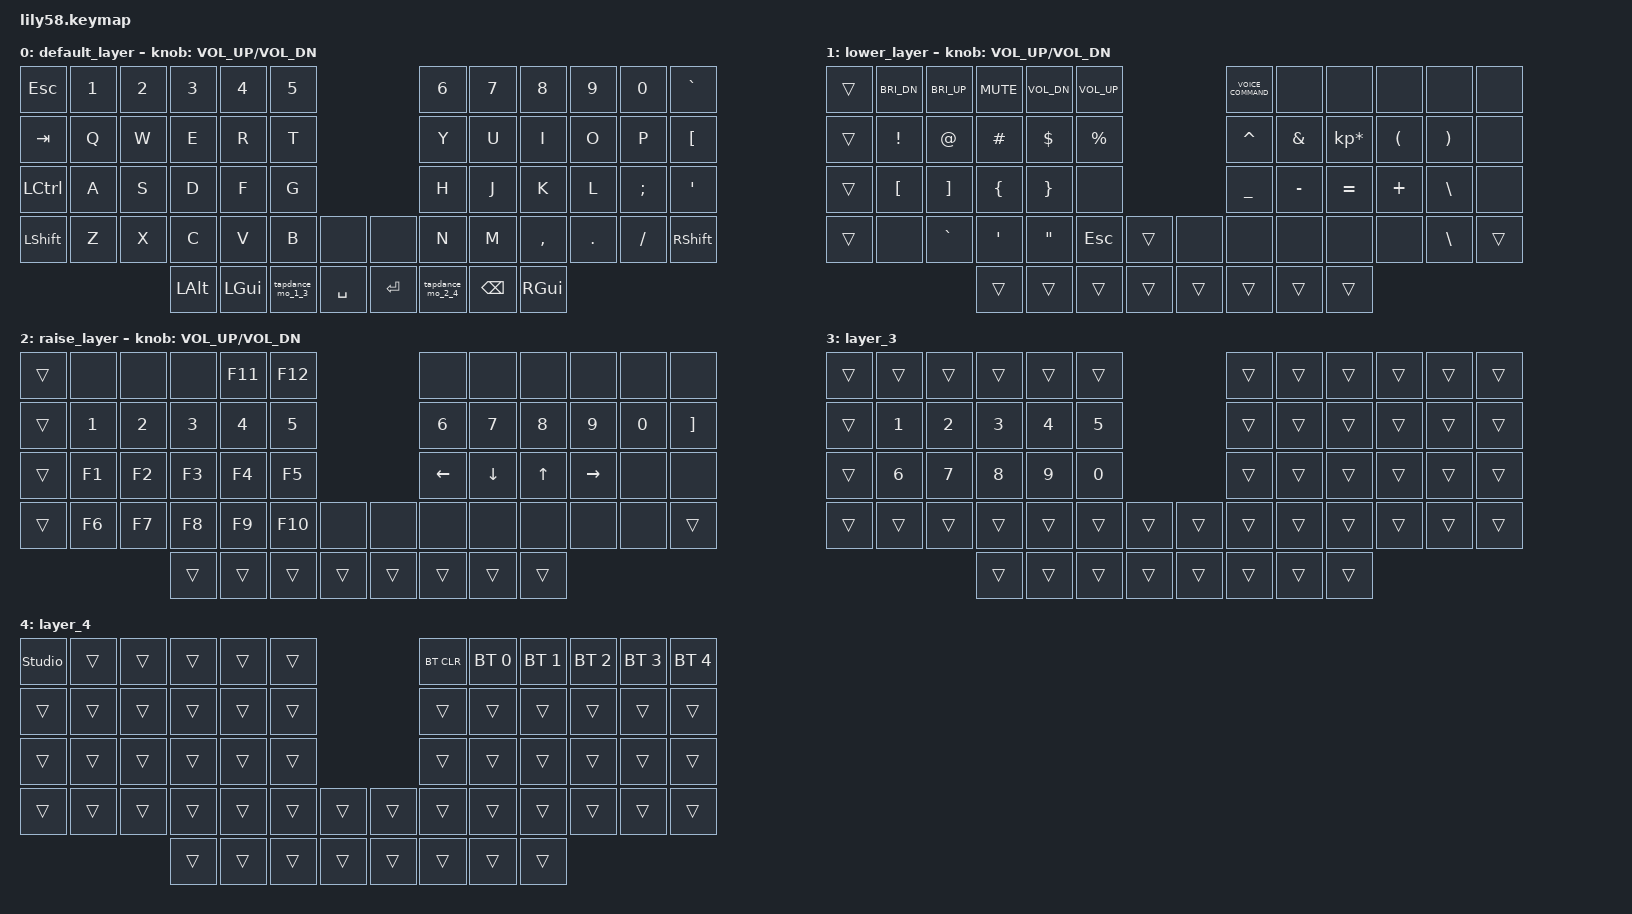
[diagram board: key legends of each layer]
/*
 * Copyright (c) 2020 The ZMK Contributors
 *
 * SPDX-License-Identifier: MIT
 */

#include <behaviors.dtsi>
#include <dt-bindings/zmk/bt.h>
#include <dt-bindings/zmk/keys.h>

/ {
    behaviors {
        tapdance_mo_1_3: tapdance_mo_1_3 {
            compatible = "zmk,behavior-tap-dance";
            label = "TAPDANCE_MO_1_3";
            #binding-cells = <0>;
            bindings = <&mo 1>, <&mo 3>;
        };

        tapdance_mo_2_4: tapdance_mo_2_4 {
            compatible = "zmk,behavior-tap-dance";
            label = "TAPDANCE_MO_2_4";
            #binding-cells = <0>;
            bindings = <&mo 2>, <&mo 4>;
        };
    };

    keymap {
        compatible = "zmk,keymap";

        default_layer {
            // ------------------------------------------------------------------------------------------------------------
            // |  ESC  |  1  |  2  |  3   |  4   |  5   |                   |  6   |  7    |  8    |  9   |   0   |   `   |
            // |  TAB  |  Q  |  W  |  E   |  R   |  T   |                   |  Y   |  U    |  I    |  O   |   P   |   -   |
            // |  CTRL |  A  |  S  |  D   |  F   |  G   |                   |  H   |  J    |  K    |  L   |   ;   |   '   |
            // | SHIFT |  Z  |  X  |  C   |  V   |  B   |   "["  |  |  "]"  |  N   |  M    |  ,    |  .   |   /   | SHIFT |
            //                     | ALT  | GUI  | LOWER|  SPACE |  | ENTER | RAISE| BSPC  | GUI   |

            bindings = <
&kp ESC    &kp N1  &kp N2  &kp N3    &kp N4    &kp N5                                  &kp N6            &kp N7    &kp N8     &kp N9   &kp N0    &kp GRAVE
&kp TAB    &kp Q   &kp W   &kp E     &kp R     &kp T                                   &kp Y             &kp U     &kp I      &kp O    &kp P     &kp LEFT_BRACKET
&kp LCTRL  &kp A   &kp S   &kp D     &kp F     &kp G                                   &kp H             &kp J     &kp K      &kp L    &kp SEMI  &kp SQT
&kp LSHFT  &kp Z   &kp X   &kp C     &kp V     &kp B             &none        &none    &kp N             &kp M     &kp COMMA  &kp DOT  &kp FSLH  &kp RSHFT
                           &kp LALT  &kp LGUI  &tapdance_mo_1_3  &kp SPACE    &kp RET  &tapdance_mo_2_4  &kp BSPC  &kp RGUI
            >;

            sensor-bindings = <&inc_dec_kp C_VOL_UP C_VOL_DN>;
        };

        lower_layer {
            // --------------------------------------------------------------------------------------------------------------
            // | LPAD  | BRDn | BRUp |  MUT |  Vo- |  Vo+ |                   |      |       |       |      |       |       |
            // |  F1   |  F2  |  F3  |  F4  |  F5  |  F6  |                   |  F7  |  F8   |  F9   |  F10 |  F11  |  F12  |
            // |   `   |  !   |  @   |  #   |  $   |  %   |                   |  ^   |  &    |  *    |  (   |   )   |   ~   |
            // |       |      |      |      |      |      |        |  |       |      |  _    |  +    |  {   |   }   |  "|"  |
            //                       |      |      |      |        |  |       |      |       |       |

            bindings = <
&trans  &kp C_BRI_DN      &kp C_BRI_UP       &kp C_MUTE        &kp C_VOL_DN       &kp C_VOL_UP                    &kp C_VOICE_COMMAND  &none          &none            &none                 &none                  &none
&trans  &kp EXCL          &kp AT             &kp HASH          &kp DOLLAR         &kp PERCENT                     &kp CARET            &kp AMPERSAND  &kp KP_MULTIPLY  &kp LEFT_PARENTHESIS  &kp RIGHT_PARENTHESIS  &none
&trans  &kp LEFT_BRACKET  &kp RIGHT_BRACKET  &kp LEFT_BRACE    &kp RIGHT_BRACE    &none                           &kp UNDERSCORE       &kp MINUS      &kp EQUAL        &kp PLUS              &kp BACKSLASH          &none
&trans  &none             &kp GRAVE          &kp SINGLE_QUOTE  &kp DOUBLE_QUOTES  &kp ESCAPE    &trans    &none   &none                &none          &none            &none                 &kp BACKSLASH          &trans
                                             &trans            &trans             &trans        &trans    &trans  &trans               &trans         &trans
            >;

            sensor-bindings = <&inc_dec_kp C_VOL_UP C_VOL_DN>;
        };

        raise_layer {
            // ------------------------------------------------------------------------------------------------------------
            // |       |     |     |      |      |      |                   |      |       |       |      |       |       |
            // |   `   |  1  |  2  |  3   |  4   |  5   |                   |  6   |   7   |   8   |  9   |   0   |       |
            // |   F1  |  F2 |  F3 |  F4  |  F5  |  F6  |                   |      |   <-  |   v   |  ^   |  ->   |       |
            // |   F7  |  F8 |  F9 |  F10 |  F11 |  F12 |        |  |       |  +   |   -   |   =   |  [   |   ]   |   \   |
            //                     |      |      |      |        |  |       |      |       |       |

            bindings = <
&trans  &none         &none   &none   &kp F11  &kp F12                    &none     &none     &none   &none      &none   &none
&trans  &kp NUMBER_1  &kp N2  &kp N3  &kp N4   &kp N5                     &kp N6    &kp N7    &kp N8  &kp N9     &kp N0  &kp RIGHT_BRACKET
&trans  &kp F1        &kp F2  &kp F3  &kp F4   &kp F5                     &kp LEFT  &kp DOWN  &kp UP  &kp RIGHT  &none   &none
&trans  &kp F6        &kp F7  &kp F8  &kp F9   &kp F10  &none     &none   &none     &none     &none   &none      &none   &trans
                              &trans  &trans   &trans   &trans    &trans  &trans    &trans    &trans
            >;

            sensor-bindings = <&inc_dec_kp C_VOL_UP C_VOL_DN>;
        };

        layer_3 {
            bindings = <
&trans  &trans        &trans        &trans        &trans        &trans                          &trans  &trans  &trans  &trans  &trans  &trans
&trans  &kp NUMBER_1  &kp NUMBER_2  &kp NUMBER_3  &kp NUMBER_4  &kp NUMBER_5                    &trans  &trans  &trans  &trans  &trans  &trans
&trans  &kp NUMBER_6  &kp NUMBER_7  &kp NUMBER_8  &kp NUMBER_9  &kp NUMBER_0                    &trans  &trans  &trans  &trans  &trans  &trans
&trans  &trans        &trans        &trans        &trans        &trans        &trans    &trans  &trans  &trans  &trans  &trans  &trans  &trans
                                    &trans        &trans        &trans        &trans    &trans  &trans  &trans  &trans
            >;
        };

        layer_4 {
            bindings = <
&studio_unlock  &trans  &trans  &trans  &trans  &trans                    &bt BT_CLR  &bt BT_SEL 0  &bt BT_SEL 1  &bt BT_SEL 2  &bt BT_SEL 3  &bt BT_SEL 4
&trans  &trans  &trans  &trans  &trans  &trans                    &trans      &trans        &trans        &trans        &trans        &trans
&trans  &trans  &trans  &trans  &trans  &trans                    &trans      &trans        &trans        &trans        &trans        &trans
&trans  &trans  &trans  &trans  &trans  &trans  &trans    &trans  &trans      &trans        &trans        &trans        &trans        &trans
                        &trans  &trans  &trans  &trans    &trans  &trans      &trans        &trans
            >;
        };
    };
};
